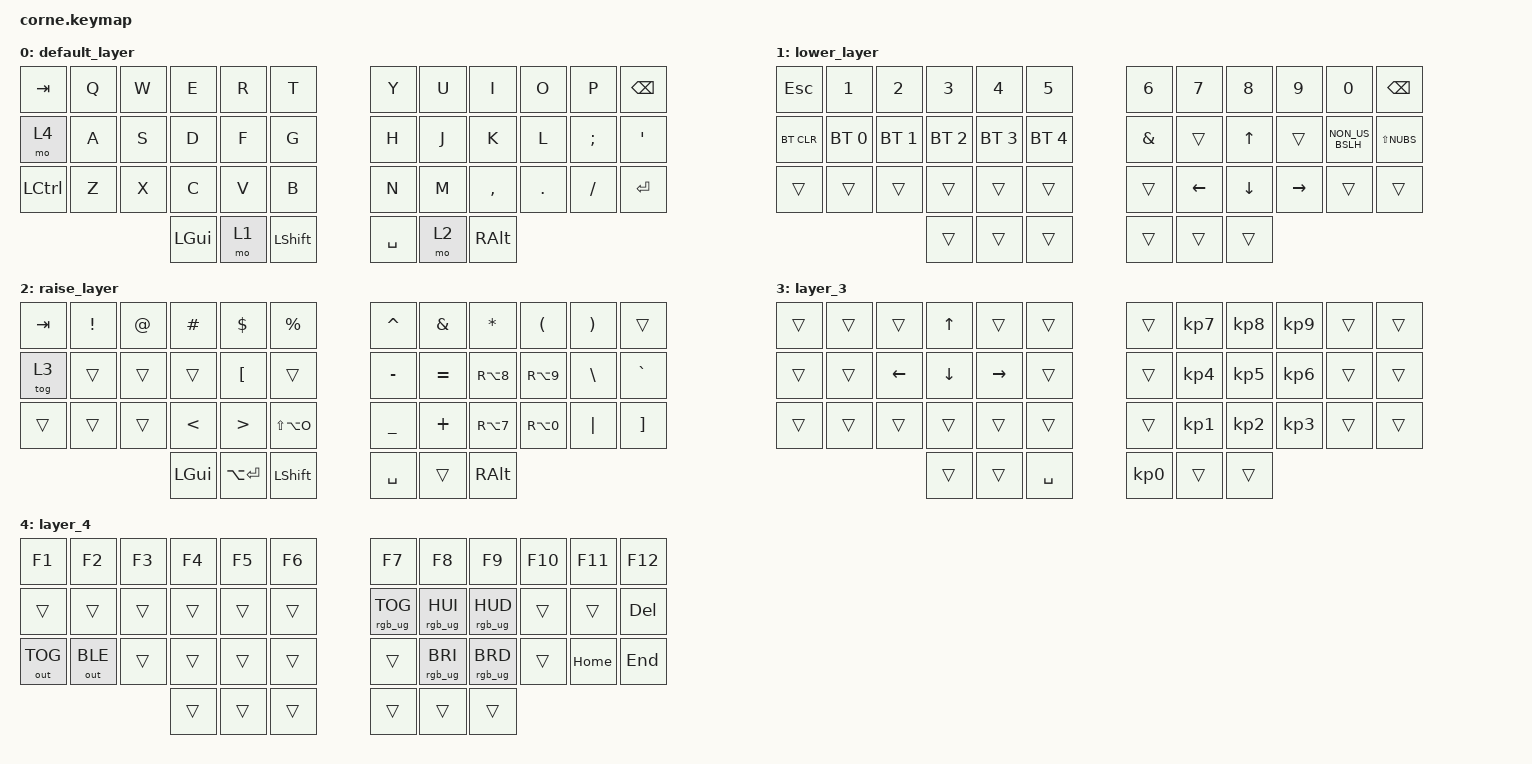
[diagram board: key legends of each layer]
/*
 * Copyright (c) 2020 The ZMK Contributors
 *
 * SPDX-License-Identifier: MIT
 */

#include <behaviors.dtsi>
#include <dt-bindings/zmk/bt.h>
#include <dt-bindings/zmk/keys.h>
#include <dt-bindings/zmk/outputs.h>
#include <dt-bindings/zmk/rgb.h>

/ {
    keymap {
        compatible = "zmk,keymap";

        default_layer {
            // -----------------------------------------------------------------------------------------
            // |  TAB |  Q  |  W  |  E  |  R  |  T  |   |  Y  |  U   |  I  |  O  |  P  | BKSP |
            // | CTRL |  A  |  S  |  D  |  F  |  G  |   |  H  |  J   |  K  |  L  |  ;  |  '   |
            // | SHFT |  Z  |  X  |  C  |  V  |  B  |   |  N  |  M   |  ,  |  .  |  /  | ESC  |
            //                    | GUI | LWR | SPC |   | ENT | RSE  | ALT |

            bindings = <
&kp TAB    &kp Q  &kp W  &kp E     &kp R  &kp T         &kp Y      &kp U  &kp I          &kp O    &kp P     &kp BSPC
&mo 4      &kp A  &kp S  &kp D     &kp F  &kp G         &kp H      &kp J  &kp K          &kp L    &kp SEMI  &kp SQT
&kp LCTRL  &kp Z  &kp X  &kp C     &kp V  &kp B         &kp N      &kp M  &kp COMMA      &kp DOT  &kp FSLH  &kp ENTER
                         &kp LGUI  &mo 1  &kp LSHIFT    &kp SPACE  &mo 2  &kp RIGHT_ALT
            >;
        };

        lower_layer {
            // -----------------------------------------------------------------------------------------
            // |  TAB |  1  |  2  |  3  |  4  |  5  |   |  6  |  7  |  8  |  9  |  0  | BKSP |
            // | BTCLR| BT1 | BT2 | BT3 | BT4 | BT5 |   | LFT | DWN |  UP | RGT |     |      |
            // | SHFT |     |     |     |     |     |   |     |     |     |     |     |      |
            //                    | GUI |     | SPC |   | ENT |     | ALT |

            bindings = <
&kp ESCAPE  &kp N1        &kp N2        &kp N3        &kp N4        &kp N5          &kp N6         &kp N7    &kp N8    &kp N9     &kp N0           &kp BSPC
&bt BT_CLR  &bt BT_SEL 0  &bt BT_SEL 1  &bt BT_SEL 2  &bt BT_SEL 3  &bt BT_SEL 4    &kp AMPERSAND  &trans    &kp UP    &trans     &kp NON_US_BSLH  &kp LS(NUBS)
&trans      &trans        &trans        &trans        &trans        &trans          &trans         &kp LEFT  &kp DOWN  &kp RIGHT  &trans           &trans
                                        &trans        &trans        &trans          &trans         &trans    &trans
            >;
        };

        raise_layer {
            // -----------------------------------------------------------------------------------------
            // |  TAB |  !  |  @  |  #  |  $  |  %  |   |  ^  |  &  |  *  |  (  |  )  | BKSP |
            // | CTRL |     |     |     |     |     |   |  -  |  =  |  [  |  ]  |  \  |  `   |
            // | SHFT |     |     |     |     |     |   |  _  |  +  |  {  |  }  | "|" |  ~   |
            //                    | GUI |     | SPC |   | ENT |     | ALT |

            bindings = <
&kp TAB  &kp EXCL  &kp AT  &kp HASH       &kp DLLR          &kp PRCNT        &kp CARET  &kp AMPS   &kp ASTERISK  &kp LPAR    &kp RPAR  &trans
&tog 3   &trans    &trans  &trans         &kp LEFT_BRACKET  &trans           &kp MINUS  &kp EQUAL  &kp RA(N8)    &kp RA(N9)  &kp BSLH  &kp GRAVE
&trans   &trans    &trans  &kp LESS_THAN  &kp GREATER_THAN  &kp LS(LA(O))    &kp UNDER  &kp PLUS   &kp RA(N7)    &kp RA(N0)  &kp PIPE  &kp RIGHT_BRACKET
                           &kp LGUI       &kp LA(ENTER)     &kp LSHIFT       &kp SPACE  &trans     &kp RALT
            >;
        };

        layer_3 {
            bindings = <
&trans  &trans  &trans    &kp UP    &trans     &trans       &trans     &kp KP_N7  &kp KP_N8  &kp KP_N9  &trans  &trans
&trans  &trans  &kp LEFT  &kp DOWN  &kp RIGHT  &trans       &trans     &kp KP_N4  &kp KP_N5  &kp KP_N6  &trans  &trans
&trans  &trans  &trans    &trans    &trans     &trans       &trans     &kp KP_N1  &kp KP_N2  &kp KP_N3  &trans  &trans
                          &trans    &trans     &kp SPACE    &kp KP_N0  &trans     &trans
            >;
        };

        layer_4 {
            bindings = <
&kp F1        &kp F2        &kp F3  &kp F4  &kp F5  &kp F6    &kp F7           &kp F8           &kp F9           &kp F10  &kp F11   &kp F12
&trans        &trans        &trans  &trans  &trans  &trans    &rgb_ug RGB_TOG  &rgb_ug RGB_HUI  &rgb_ug RGB_HUD  &trans   &trans    &kp DEL
&out OUT_TOG  &out OUT_BLE  &trans  &trans  &trans  &trans    &trans           &rgb_ug RGB_BRI  &rgb_ug RGB_BRD  &trans   &kp HOME  &kp END
                                    &trans  &trans  &trans    &trans           &trans           &trans
            >;
        };
    };
};
